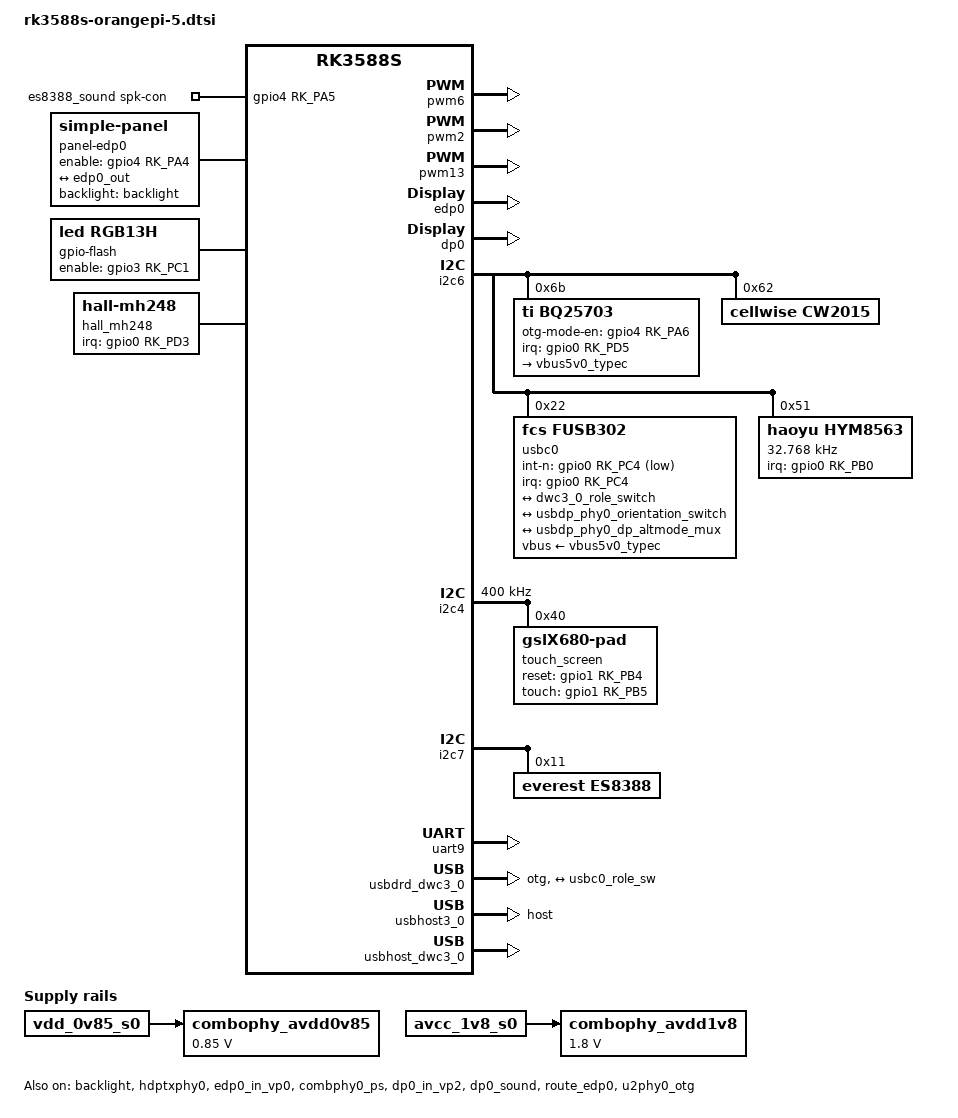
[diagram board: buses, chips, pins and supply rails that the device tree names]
// SPDX-License-Identifier: (GPL-2.0+ OR MIT)
/*
 * Copyright (c) 2021 Rockchip Electronics Co., Ltd.
 *
 */

#include "dt-bindings/usb/pd.h"
#include "rk3588s.dtsi"
#include "rk3588s-orangepi.dtsi"
#include "rk3588-rk806-single.dtsi"

/ {
	combophy_avdd0v85: combophy-avdd0v85 {
		compatible = "regulator-fixed";
		regulator-name = "combophy_avdd0v85";
		regulator-boot-on;
		regulator-always-on;
		regulator-min-microvolt = <850000>;
		regulator-max-microvolt = <850000>;
		vin-supply = <&vdd_0v85_s0>;
	};

	combophy_avdd1v8: combophy-avdd1v8 {
		compatible = "regulator-fixed";
		regulator-name = "combophy_avdd1v8";
		regulator-boot-on;
		regulator-always-on;
		regulator-min-microvolt = <1800000>;
		regulator-max-microvolt = <1800000>;
		vin-supply = <&avcc_1v8_s0>;
	};

	es8388_sound: es8388-sound {
		status = "okay";
		compatible = "rockchip,multicodecs-card";
		rockchip,card-name = "rockchip-es8388";
		hp-volume = <20>;
		spk-volume = <20>;
		spk-volume-l = <20>;
		spk-volume-r = <20>;
		out-l2spk-r2hp;
		use-ext-amplifier;
		spk-con-gpio = <&gpio4 RK_PA5 GPIO_ACTIVE_HIGH>;
		//hp-det-gpio = <&gpio1 RK_PD5 GPIO_ACTIVE_HIGH>;
		//io-channels = <&saradc 3>;
		//io-channel-names = "adc-detect";
		//keyup-threshold-microvolt = <1800000>;
		poll-interval = <100>;
		rockchip,format = "i2s";
		rockchip,mclk-fs = <256>;
		rockchip,cpu = <&i2s0_8ch>;
		rockchip,codec = <&es8388>;
		rockchip,audio-routing =
			"Headphone", "LOUT1",
			"Headphone", "ROUT1",
			"Speaker",	 "LOUT2",
			"Speaker",   "ROUT2",
			"Headphone", "Headphone Power",
			"Headphone", "Headphone Power",
			"Speaker",   "Speaker Power",
			"Speaker",   "Speaker Power",
			"LINPUT1", "Main Mic",
			"LINPUT2", "Main Mic",
			"RINPUT1", "Headset Mic",
			"RINPUT2", "Headset Mic";
		pinctrl-names = "default";
		pinctrl-0 = <&voice_en>;

	};

	panel-edp0 {
		backlight = <&backlight>;
		compatible = "simple-panel";
		disable-delay-ms = <0>;
		enable-delay-ms = <200>;
		enable-gpios = <&gpio4 RK_PA4 GPIO_ACTIVE_HIGH>;
		height-mm = <172>;
		width-mm = <258>;
		prepare-delay-ms = <200>;
		unprepare-delay-ms = <0x00>;

		ports {
				panel_edp0: endpoint {
					remote-endpoint = <&edp0_out>;
				};
		};
	};

	flashlight: flash-rgb13h {
		compatible = "led,rgb13h";
		enable-gpio = <&gpio3 RK_PC1 GPIO_ACTIVE_HIGH>;
		flash-max-microamp = <20000>;
		flash-max-timeout-us = <1000000>;
		label = "gpio-flash";
		led-max-microamp = <20000>;
		rockchip,camera-module-facing = "back";
		rockchip,camera-module-index = <0>;
		status = "okay";
	};

	hall_mh248: hall-mh248 {
		compatible = "hall-mh248";
		hall-active = <0x01>;
		irq-gpio = <&gpio0 RK_PD3 IRQ_TYPE_EDGE_RISING>;
		pinctrl-0 = <&mh248_irq_gpio>;
		pinctrl-names = "default";
		status = "okay";
	};
};

&pwm6 {
	status = "okay";
	pinctrl-names = "active";
	pinctrl-0 = <&pwm6m0_pins>;
};

&pwm2 {
	status = "okay";
	pinctrl-names = "active";
	pinctrl-0 = <&pwm2m0_pins>;
};

/* bl */
&pwm13 {
	status = "okay";
	pinctrl-0 = <&pwm13m1_pins>;
};

&backlight {
	enable-gpios =  <&gpio4 RK_PA3 GPIO_ACTIVE_HIGH>;
	pwms = <&pwm13 0 25000 0>;
	status = "okay";
};

&hdptxphy0 {
	/* Single Vdiff Training Table for power reduction (optional) */
	training-table = /bits/ 8 <
		/* voltage swing 0, pre-emphasis 0->3 */
		0x0d 0x00 0x00 0x00 0x00 0x00
		0x0d 0x00 0x00 0x00 0x00 0x00
		0x0d 0x00 0x00 0x00 0x00 0x00
		0x0d 0x00 0x00 0x00 0x00 0x00
		/* voltage swing 1, pre-emphasis 0->2 */
		0x0d 0x00 0x00 0x00 0x00 0x00
		0x0d 0x00 0x00 0x00 0x00 0x00
		0x0d 0x00 0x00 0x00 0x00 0x00
		/* voltage swing 2, pre-emphasis 0->1 */
		0x0d 0x00 0x00 0x00 0x00 0x00
		0x0d 0x00 0x00 0x00 0x00 0x00
		/* voltage swing 3, pre-emphasis 0 */
		0x0d 0x00 0x00 0x00 0x00 0x00
	>;
	status = "okay";
};

&edp0 {
	force-hpd;
	status = "okay";
};

&edp0_out {
	remote-endpoint = <&panel_edp0>;
};

&edp0_in_vp0 {
	status = "okay";
};

&combphy0_ps {
	status = "okay";
};

&dp0 {
	status = "okay";
};

&dp0_in_vp2 {
	status = "okay";
};

&dp0_sound{
	status = "okay";
};

&hdmi0_in_vp0 {
	status = "disabled";
};

&route_edp0{
	status = "okay";
};
&i2c6 {
	status = "okay";
	pinctrl-names = "default";
	pinctrl-0 = <&i2c6m3_xfer>;

	bq25703: bq25703@6b {
		compatible = "ti,bq25703";
		extcon = <&u2phy0>;
		interrupt-parent = <&gpio0>;
		interrupts = <RK_PD5 IRQ_TYPE_EDGE_FALLING>;
		otg-mode-en-gpios = <&gpio4 RK_PA6 0x00>;
		pd-charge-only = <0x00>;
		pinctrl-0 = <&charger_ok>;
		pinctrl-names = "default";
		reg = <0x6b>;
		status = "okay";
		ti,charge-current = <2500000>;
		ti,input-current = <10000000>;
		ti,input-current-cdp = <2500000>;
		ti,input-current-dcp = <2500000>;
		ti,input-current-sdp = <5000000>;
		ti,max-charge-voltage = <8750000>;
		ti,max-input-current = <60000000>;
		ti,max-input-voltage = <20000000>;
		ti,minimum-sys-voltage = <7400000>;
		ti,otg-current = <1500000>;
		ti,otg-voltage = <5000000>;
		ti,usb-charger-detection = <&usbc0>;

		regulators {
			vbus5v0_typec: vbus5v0-typec1 {
				regulator-compatible = "otg-vbus";
				regulator-name = "vbus5v0_typec";
			};
		};
	};

	cw2015:	cw2015@62 {
		cellwise,battery-profile = <0x1767816e 0x68656455 0x784a5555 0x59524236 0x2c211913 0x2233424f 0x1f840666 0x1933526c 0x7d7d7c80 0x3f1b5c46 0xa441e54 0x87939833 0x50769aa9 0x807689cb 0x2f0064a5 0xb51cf031>;
		cellwise,dual-cell = <0x01>;
		cellwise,monitor-interval-ms = <500>;
		compatible = "cellwise,cw2015";
		power-supplies = <&bq25703>;
		power_off_thresd = <6700>;
		reg = <0x62>;
		status = "okay";
	};

	usbc0: fusb302@22 {
		compatible = "fcs,fusb302";
		reg = <0x22>;
		charge-dev = <&bq25703>;
		int-n-gpios = <&gpio0 RK_PC4 0x01>;
		interrupt-parent = <&gpio0>;
		interrupts = <RK_PC4 IRQ_TYPE_LEVEL_LOW>;
		pinctrl-names = "default";
		pinctrl-0 = <&usbc0_int>;
		vbus-supply = <&vbus5v0_typec>;
		status = "okay";

		ports {
			#address-cells = <1>;
			#size-cells = <0>;

			port@0 {
				reg = <0>;
				usbc0_role_sw: endpoint@0 {
					remote-endpoint = <&dwc3_0_role_switch>;
				};
			};
		};

		usb_con: connector {
			compatible = "usb-c-connector";
			label = "USB-C";
			data-role = "dual";
			power-role = "dual";
			try-power-role = "sink";
			op-sink-microwatt = <1000000>;
			sink-pdos =
				<PDO_FIXED(5000, 3000, PDO_FIXED_USB_COMM) PDO_FIXED(9000, 3000, PDO_FIXED_USB_COMM) PDO_FIXED(12000, 3000, PDO_FIXED_USB_COMM)>;
			source-pdos =
				<PDO_FIXED(5000, 3000, PDO_FIXED_USB_COMM)>;

			altmodes {
				#address-cells = <1>;
				#size-cells = <0>;

				altmode@0 {
					reg = <0>;
					svid = <0xff01>;
					vdo = <0xffffffff>;
				};
			};

			ports {
				#address-cells = <1>;
				#size-cells = <0>;

				port@0 {
					reg = <0>;
					usbc0_orien_sw: endpoint {
						remote-endpoint = <&usbdp_phy0_orientation_switch>;
					};
				};

				port@1 {
					reg = <1>;
					dp_altmode_mux: endpoint {
						remote-endpoint = <&usbdp_phy0_dp_altmode_mux>;
					};
				};
			};
		};
	};

	hym8563: hym8563@51 {
		compatible = "haoyu,hym8563";
		reg = <0x51>;
		#clock-cells = <0>;
		clock-frequency = <32768>;
		clock-output-names = "hym8563";
		pinctrl-names = "default";
		pinctrl-0 = <&hym8563_int>;
		interrupt-parent = <&gpio0>;
		interrupts = <RK_PB0 IRQ_TYPE_LEVEL_LOW>;
		wakeup-source;
	};
};

&i2c4 {
	status = "okay";
	pinctrl-names = "default";
	pinctrl-0 = <&i2c4m3_xfer>;
	clock-frequency = <400000>;

	touch_screen: ts@40 {
		chip_id = <0>;
		compatible = "gslX680-pad";
		pinctrl-0 = <&touch_gpio>;
		pinctrl-names = "default";
		reg = <0x40>;
		reset-gpio = <&gpio1 RK_PB4 IRQ_TYPE_LEVEL_HIGH>;
		revert_x = <0x00>;
		revert_xy = <0x00>;
		revert_y = <0x00>;
		screen_max_x = <3000>;
		screen_max_y = <2000>;
		status = "okay";
		touch-gpio = <&gpio1 RK_PB5 IRQ_TYPE_LEVEL_HIGH>;
	};
};

&i2c7 {
	status = "okay";
	pinctrl-names = "default";
	pinctrl-0 = <&i2c7m0_xfer>;

	es8388: es8388@11 {
		status = "okay";
		#sound-dai-cells = <0>;
		compatible = "everest,es8388", "everest,es8323";
		reg = <0x11>;
		clocks = <&mclkout_i2s0>;
		clock-names = "mclk";
		assigned-clocks = <&mclkout_i2s0>;
		assigned-clock-rates = <12288000>;
		pinctrl-names = "default";
		pinctrl-0 = <&i2s0_mclk>;
	};
};

&pcie2x1l1 {
	status = "disabled";
};

&pcie2x1l2 {
	reset-gpios = <&gpio3 RK_PD1 GPIO_ACTIVE_HIGH>;
	rockchip,skip-scan-in-resume;
	status = "disabled";
};

&pinctrl {

	sensor {

		mh248_irq_gpio: mh248-irq-gpio {
			rockchip,pins = <0 RK_PD3 RK_FUNC_GPIO &pcfg_pull_up>;
		};

		mpu6500_irq_gpio: mpu6500-irq-gpio {
			rockchip,pins = <1 RK_PD3 RK_FUNC_GPIO &pcfg_pull_none>;
		};
	};

	hym8563 {
		hym8563_int: hym8563-int {
			rockchip,pins = <0 RK_PB0 RK_FUNC_GPIO &pcfg_pull_up>;
		};
	};

	usb-typec {
		usbc0_int: usbc0-int {
			rockchip,pins = <0 RK_PC4 RK_FUNC_GPIO &pcfg_pull_up>;
		};

		typec5v_pwren: typec5v-pwren {
			rockchip,pins = <4 RK_PB5 RK_FUNC_GPIO &pcfg_pull_none>;
		};
	};

	voice {
		voice_en: voice-en {
			rockchip,pins = <4 RK_PA2 RK_FUNC_GPIO &pcfg_pull_up>;
		};
	};
	charger {
		charger_ok: charger-ok {
			rockchip,pins = <0 RK_PD5 RK_FUNC_GPIO &pcfg_pull_up>;
		};
	};

	touch {
		touch_gpio: touch-gpio {
			rockchip,pins = <1 RK_PB5 0 &pcfg_pull_up 1 RK_PB4 0 &pcfg_pull_up>;
		};
	};
};

&u2phy0_otg {
	rockchip,typec-vbus-det;
	status = "okay";
};

&uart9 {
	status = "okay";
	pinctrl-names = "default";
	pinctrl-0 = <&uart9m2_xfer &uart9m2_ctsn>;
};

&usbdp_phy0 {
	orientation-switch;
	svid = <0xff01>;
	sbu1-dc-gpios = <&gpio1 RK_PB6 GPIO_ACTIVE_HIGH>;
	sbu2-dc-gpios = <&gpio1 RK_PB7 GPIO_ACTIVE_HIGH>;

	port {
		#address-cells = <1>;
		#size-cells = <0>;
		usbdp_phy0_orientation_switch: endpoint@0 {
			reg = <0>;
			remote-endpoint = <&usbc0_orien_sw>;
		};

		usbdp_phy0_dp_altmode_mux: endpoint@1 {
			reg = <1>;
			remote-endpoint = <&dp_altmode_mux>;
		};
	};
};

&usbdrd_dwc3_0 {
	status = "okay";
	dr_mode = "otg";
	usb-role-switch;
	port {
		#address-cells = <1>;
		#size-cells = <0>;
		dwc3_0_role_switch: endpoint@0 {
			reg = <0>;
			remote-endpoint = <&usbc0_role_sw>;
		};
	};
};

&combphy2_psu {
        status = "disabled";
};

&usbhost3_0 {
	dr_mode = "host";
	status = "okay";
};

&usbhost_dwc3_0 {
	status = "okay";
};
